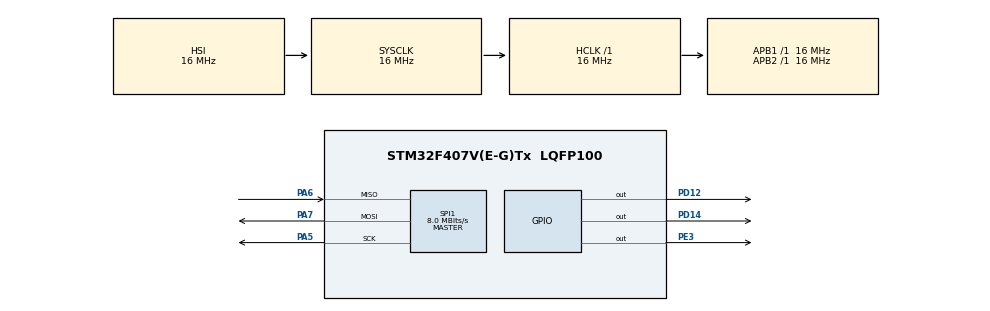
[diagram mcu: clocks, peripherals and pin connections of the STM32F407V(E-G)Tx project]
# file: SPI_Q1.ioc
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Mcu.Family=STM32F4
Mcu.Name=STM32F407V(E-G)Tx
Mcu.Package=LQFP100
NVIC.PriorityGroup=NVIC_PRIORITYGROUP_4
PA5.Mode=Full_Duplex_Master
PA5.Signal=SPI1_SCK
PA6.Mode=Full_Duplex_Master
PA6.Signal=SPI1_MISO
PA7.Mode=Full_Duplex_Master
PA7.Signal=SPI1_MOSI
PD12.Signal=GPIO_Output
PD14.Signal=GPIO_Output
PE3.GPIO_PuPd=GPIO_NOPULL
PE3.PinState=GPIO_PIN_SET
PE3.Signal=GPIO_Output
ProjectManager.HeapSize=0x200
ProjectManager.StackSize=0x400
ProjectManager.TargetToolchain=STM32CubeIDE
RCC.AHBFreq_Value=16000000
RCC.APB1Freq_Value=16000000
RCC.APB2Freq_Value=16000000
RCC.CortexFreq_Value=16000000
RCC.HSE_VALUE=25000000
RCC.HSI_VALUE=16000000
RCC.LSE_VALUE=32768
RCC.SYSCLKFreq_VALUE=16000000
RCC.VCOOutputFreq_Value=192000000
SPI1.CLKPolarity=SPI_POLARITY_HIGH
SPI1.CalculateBaudRate=8.0 MBits/s
SPI1.Direction=SPI_DIRECTION_2LINES
SPI1.Mode=SPI_MODE_MASTER
SPI1.VirtualType=VM_MASTER
board=custom

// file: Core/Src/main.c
/* USER CODE BEGIN Header */
/**
  ******************************************************************************
  * @file           : main.c
  * @brief          : Main program body
  ******************************************************************************
  * @attention
  *
  * Copyright (c) 2026 STMicroelectronics.
  * All rights reserved.
  *
  * This software is licensed under terms that can be found in the LICENSE file
  * in the root directory of this software component.
  * If no LICENSE file comes with this software, it is provided AS-IS.
  *
  ******************************************************************************
  */
/* USER CODE END Header */
#include "main.h"

SPI_HandleTypeDef hspi1;

/* USER CODE BEGIN PV */
uint8_t Return[4] = {0};
uint8_t Txbuff[4] = {0x55, 0xAA, 0x00, 0xFF};
/* USER CODE END PV */

void SystemClock_Config(void);
static void MX_GPIO_Init(void);
static void MX_SPI1_Init(void);

int main(void)
{

  /* MCU Configuration--------------------------------------------------------*/

  /* Reset of all peripherals, Initializes the Flash interface and the Systick. */
  HAL_Init();

  /* Configure the system clock */
  SystemClock_Config();

  /* Initialize all configured peripherals */
  MX_GPIO_Init();
  MX_SPI1_Init();

  /* Infinite loop */
  while (1)
  {

    /* USER CODE BEGIN 3 */
	  // Setting sensor chip select high so that accelerometer is disabled
	  HAL_GPIO_WritePin(GPIOE, GPIO_PIN_3, 1);

	  HAL_SPI_TransmitReceive(&hspi1, Txbuff, Return, 4, 10);
	  uint8_t flag = 1;
	  for(int i = 0; i <4; i++){
		  if(Txbuff[i] != Return[i]){
			  flag = 0;
			  break;
		  }
	  }
	  if(flag){

		  HAL_GPIO_WritePin(GPIOD, GPIO_PIN_12, 1);
		  HAL_GPIO_WritePin(GPIOD, GPIO_PIN_14, 0);

	  }
	  else {
		  HAL_GPIO_WritePin(GPIOD, GPIO_PIN_12, 0);
		  HAL_GPIO_WritePin(GPIOD, GPIO_PIN_14, 1);
	  }
  }
  /* USER CODE END 3 */
}

void SystemClock_Config(void)
{
  RCC_OscInitTypeDef RCC_OscInitStruct = {0};
  RCC_ClkInitTypeDef RCC_ClkInitStruct = {0};

  /** Configure the main internal regulator output voltage
  */
  __HAL_RCC_PWR_CLK_ENABLE();
  __HAL_PWR_VOLTAGESCALING_CONFIG(PWR_REGULATOR_VOLTAGE_SCALE1);

  /** Initializes the RCC Oscillators according to the specified parameters
  * in the RCC_OscInitTypeDef structure.
  */
  RCC_OscInitStruct.OscillatorType = RCC_OSCILLATORTYPE_HSI;
  RCC_OscInitStruct.HSIState = RCC_HSI_ON;
  RCC_OscInitStruct.HSICalibrationValue = RCC_HSICALIBRATION_DEFAULT;
  RCC_OscInitStruct.PLL.PLLState = RCC_PLL_NONE;
  if (HAL_RCC_OscConfig(&RCC_OscInitStruct) != HAL_OK)
  {
    Error_Handler();
  }

  /** Initializes the CPU, AHB and APB buses clocks
  */
  RCC_ClkInitStruct.ClockType = RCC_CLOCKTYPE_HCLK|RCC_CLOCKTYPE_SYSCLK
                              |RCC_CLOCKTYPE_PCLK1|RCC_CLOCKTYPE_PCLK2;
  RCC_ClkInitStruct.SYSCLKSource = RCC_SYSCLKSOURCE_HSI;
  RCC_ClkInitStruct.AHBCLKDivider = RCC_SYSCLK_DIV1;
  RCC_ClkInitStruct.APB1CLKDivider = RCC_HCLK_DIV1;
  RCC_ClkInitStruct.APB2CLKDivider = RCC_HCLK_DIV1;

  if (HAL_RCC_ClockConfig(&RCC_ClkInitStruct, FLASH_LATENCY_0) != HAL_OK)
  {
    Error_Handler();
  }
}

static void MX_SPI1_Init(void)
{

  /* SPI1 parameter configuration*/
  hspi1.Instance = SPI1;
  hspi1.Init.Mode = SPI_MODE_MASTER;
  hspi1.Init.Direction = SPI_DIRECTION_2LINES;
  hspi1.Init.DataSize = SPI_DATASIZE_8BIT;
  hspi1.Init.CLKPolarity = SPI_POLARITY_HIGH;
  hspi1.Init.CLKPhase = SPI_PHASE_1EDGE;
  hspi1.Init.NSS = SPI_NSS_SOFT;
  hspi1.Init.BaudRatePrescaler = SPI_BAUDRATEPRESCALER_2;
  hspi1.Init.FirstBit = SPI_FIRSTBIT_MSB;
  hspi1.Init.TIMode = SPI_TIMODE_DISABLE;
  hspi1.Init.CRCCalculation = SPI_CRCCALCULATION_DISABLE;
  hspi1.Init.CRCPolynomial = 10;
  if (HAL_SPI_Init(&hspi1) != HAL_OK)
  {
    Error_Handler();
  }

}

static void MX_GPIO_Init(void)
{
  GPIO_InitTypeDef GPIO_InitStruct = {0};

  /* GPIO Ports Clock Enable */
  __HAL_RCC_GPIOE_CLK_ENABLE();
  __HAL_RCC_GPIOA_CLK_ENABLE();
  __HAL_RCC_GPIOD_CLK_ENABLE();

  /*Configure GPIO pin Output Level */
  HAL_GPIO_WritePin(GPIOE, GPIO_PIN_3, GPIO_PIN_SET);

  /*Configure GPIO pin Output Level */
  HAL_GPIO_WritePin(GPIOD, GPIO_PIN_12|GPIO_PIN_14, GPIO_PIN_RESET);

  /*Configure GPIO pin : PE3 */
  GPIO_InitStruct.Pin = GPIO_PIN_3;
  GPIO_InitStruct.Mode = GPIO_MODE_OUTPUT_PP;
  GPIO_InitStruct.Pull = GPIO_NOPULL;
  GPIO_InitStruct.Speed = GPIO_SPEED_FREQ_LOW;
  HAL_GPIO_Init(GPIOE, &GPIO_InitStruct);

  /*Configure GPIO pins : PD12 PD14 */
  GPIO_InitStruct.Pin = GPIO_PIN_12|GPIO_PIN_14;
  GPIO_InitStruct.Mode = GPIO_MODE_OUTPUT_PP;
  GPIO_InitStruct.Pull = GPIO_NOPULL;
  GPIO_InitStruct.Speed = GPIO_SPEED_FREQ_LOW;
  HAL_GPIO_Init(GPIOD, &GPIO_InitStruct);

}

void Error_Handler(void)
{
  __disable_irq();
  while (1)
  {
  }
}
